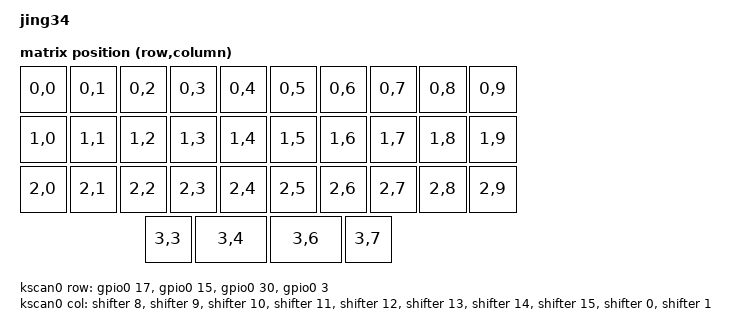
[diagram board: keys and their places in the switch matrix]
/*
 * Copyright (c) 2020 The ZMK Contributors
 *
 * SPDX-License-Identifier: MIT
 */

/dts-v1/;
#include <nordic/nrf52833_qiaa.dtsi>
#include <dt-bindings/zmk/matrix_transform.h>
#include <physical_layouts.dtsi>

/ {
    model = "jing34";
    compatible = "niuiu,jing34";

    chosen {
        zephyr,code-partition = &code_partition;
        zephyr,sram = &sram0;
        zephyr,flash = &flash0;
        zmk,battery = &vbatt;
        zmk,kscan = &kscan0;
    };

    layout: layout {
        compatible = "zmk,physical-layout";
        display-name = "#34";

        transform = <&default_transform>;

        keys  //                     w   h    x    y     rot    rx    ry
            = <&key_physical_attrs 100 100    0    0       0     0     0>
            , <&key_physical_attrs 100 100  100    0       0     0     0>
            , <&key_physical_attrs 100 100  200    0       0     0     0>
            , <&key_physical_attrs 100 100  300    0       0     0     0>
            , <&key_physical_attrs 100 100  400    0       0     0     0>
            , <&key_physical_attrs 100 100  500    0       0     0     0>
            , <&key_physical_attrs 100 100  600    0       0     0     0>
            , <&key_physical_attrs 100 100  700    0       0     0     0>
            , <&key_physical_attrs 100 100  800    0       0     0     0>
            , <&key_physical_attrs 100 100  900    0       0     0     0>
            , <&key_physical_attrs 100 100    0  100       0     0     0>
            , <&key_physical_attrs 100 100  100  100       0     0     0>
            , <&key_physical_attrs 100 100  200  100       0     0     0>
            , <&key_physical_attrs 100 100  300  100       0     0     0>
            , <&key_physical_attrs 100 100  400  100       0     0     0>
            , <&key_physical_attrs 100 100  500  100       0     0     0>
            , <&key_physical_attrs 100 100  600  100       0     0     0>
            , <&key_physical_attrs 100 100  700  100       0     0     0>
            , <&key_physical_attrs 100 100  800  100       0     0     0>
            , <&key_physical_attrs 100 100  900  100       0     0     0>
            , <&key_physical_attrs 100 100    0  200       0     0     0>
            , <&key_physical_attrs 100 100  100  200       0     0     0>
            , <&key_physical_attrs 100 100  200  200       0     0     0>
            , <&key_physical_attrs 100 100  300  200       0     0     0>
            , <&key_physical_attrs 100 100  400  200       0     0     0>
            , <&key_physical_attrs 100 100  500  200       0     0     0>
            , <&key_physical_attrs 100 100  600  200       0     0     0>
            , <&key_physical_attrs 100 100  700  200       0     0     0>
            , <&key_physical_attrs 100 100  800  200       0     0     0>
            , <&key_physical_attrs 100 100  900  200       0     0     0>
            , <&key_physical_attrs 100 100  250  300       0     0     0>
            , <&key_physical_attrs 150 100  350  300       0     0     0>
            , <&key_physical_attrs 150 100  500  300       0     0     0>
            , <&key_physical_attrs 100 100  650  300       0     0     0>
            ;

    };
    default_transform: keymap_transform_0 {
        compatible = "zmk,matrix-transform";
        columns = <10>;
        rows = <4>;
        map = <
RC(0,0) RC(0,1) RC(0,2) RC(0,3) RC(0,4) RC(0,5) RC(0,6) RC(0,7) RC(0,8) RC(0,9)
RC(1,0) RC(1,1) RC(1,2) RC(1,3) RC(1,4) RC(1,5) RC(1,6) RC(1,7) RC(1,8) RC(1,9)
RC(2,0) RC(2,1) RC(2,2) RC(2,3) RC(2,4) RC(2,5) RC(2,6) RC(2,7) RC(2,8) RC(2,9)
                        RC(3,3) RC(3,4)         RC(3,6) RC(3,7)
                >;
    };


kscan0: kscan {
        compatible = "zmk,kscan-gpio-matrix";

        diode-direction = "col2row";

        row-gpios
            = <&gpio0 17 (GPIO_ACTIVE_HIGH | GPIO_PULL_DOWN)>
            , <&gpio0 15 (GPIO_ACTIVE_HIGH | GPIO_PULL_DOWN)>
            , <&gpio0 30 (GPIO_ACTIVE_HIGH | GPIO_PULL_DOWN)>
            , <&gpio0  3 (GPIO_ACTIVE_HIGH | GPIO_PULL_DOWN)>
            ;


        col-gpios
           = <&shifter  8 GPIO_ACTIVE_HIGH>
           , <&shifter  9 GPIO_ACTIVE_HIGH>
           , <&shifter 10 GPIO_ACTIVE_HIGH>
           , <&shifter 11 GPIO_ACTIVE_HIGH>
           , <&shifter 12 GPIO_ACTIVE_HIGH>
           , <&shifter 13 GPIO_ACTIVE_HIGH>
           , <&shifter 14 GPIO_ACTIVE_HIGH>
           , <&shifter 15 GPIO_ACTIVE_HIGH>
           , <&shifter  0 GPIO_ACTIVE_HIGH>
           , <&shifter  1 GPIO_ACTIVE_HIGH>
            ;

        };


    // Node name must match original "EXT_POWER" label to preserve user settings.
    EXT_POWER {
        compatible = "zmk,ext-power-generic";
        control-gpios = <&gpio0 11 GPIO_ACTIVE_LOW>;
    };

    vbatt: vbatt {
        compatible = "zmk,battery-voltage-divider";
        io-channels = <&adc 3>;
        output-ohms = <10000000>;
        full-ohms = <(10000000 + 2200000)>;
    };
};

&pinctrl {
    spi0_default: spi0_default {
        group1 {
            psels = <NRF_PSEL(SPIM_SCK, 0, 0)>,
                <NRF_PSEL(SPIM_MOSI, 0, 4)>;
        };
    };
    spi0_sleep: spi0_sleep {
        group1 {
            psels = <NRF_PSEL(SPIM_SCK, 0, 0)>,
                <NRF_PSEL(SPIM_MOSI, 0, 4)>;
            low-power-enable;
        };
    };
};

jing34_spi: &spi0 {
    status = "okay";
		compatible = "nordic,nrf-spim";
    pinctrl-0 = <&spi0_default>;
    pinctrl-1 = <&spi0_sleep>;
    pinctrl-names = "default", "sleep";
    cs-gpios = <&gpio0 1 GPIO_ACTIVE_LOW>;
    shifter: 595@0 {
        compatible = "zmk,gpio-595";
        status = "okay";
        gpio-controller;
        spi-max-frequency = <200000>;
        reg = <0>;
        label = "4HC595";
        #gpio-cells = <2>;
        ngpios = <16>;
    };
};

&adc {
    status = "okay";
};

&gpiote {
    status = "okay";
};

&gpio0 {
    status = "okay";
};

&gpio1 {
    status = "okay";
};

zephyr_udc0: &usbd {
    status = "okay";
};


&flash0 {
    /*
     * For more information, see:
     * http://docs.zephyrproject.org/latest/devices/dts/flash_partitions.html
     */
    partitions {
        compatible = "fixed-partitions";
        #address-cells = <1>;
        #size-cells = <1>;

        sd_partition: partition@0 {
            reg = <0x00000000 0x00026000>;
        };
        code_partition: partition@27000 {
            reg = <0x00027000 0x00045000>;
        };

        /*
         * The flash starting at 0x0006c000 and ending at
         * 0x00073fff is reserved for use by the application.
         */

        /*
         * Storage partition will be used by FCB/LittleFS/NVS
         * if enabled.
         */
        storage_partition: partition@6c000 {
            reg = <0x0006c000 0x00008000>;
        };

        boot_partition: partition@74000 {
            reg = <0x00074000 0x0000c000>;
        };
    };
};
